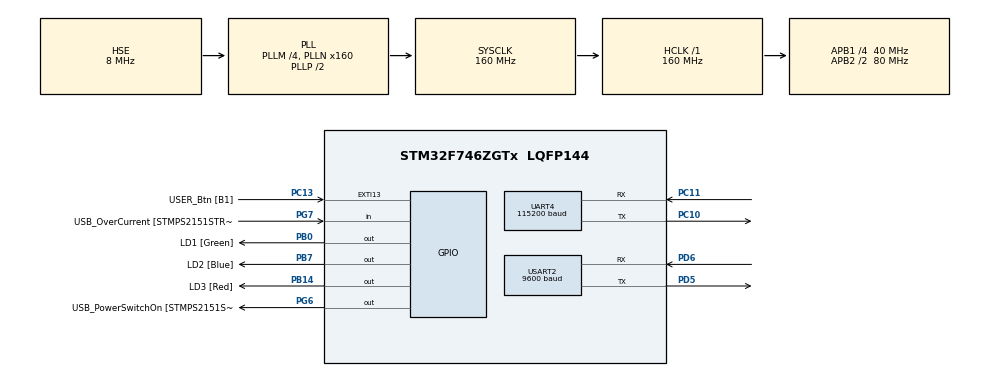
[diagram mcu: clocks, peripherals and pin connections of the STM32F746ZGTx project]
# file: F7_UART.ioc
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Dma.Request0=USART2_RX
Dma.Request1=UART4_TX
Dma.UART4_TX.1.Direction=DMA_MEMORY_TO_PERIPH
Dma.UART4_TX.1.FIFOMode=DMA_FIFOMODE_DISABLE
Dma.UART4_TX.1.Instance=DMA1_Stream4
Dma.UART4_TX.1.MemDataAlignment=DMA_MDATAALIGN_BYTE
Dma.UART4_TX.1.MemInc=DMA_MINC_ENABLE
Dma.UART4_TX.1.Mode=DMA_NORMAL
Dma.UART4_TX.1.PeriphDataAlignment=DMA_PDATAALIGN_BYTE
Dma.UART4_TX.1.PeriphInc=DMA_PINC_DISABLE
Dma.UART4_TX.1.Priority=DMA_PRIORITY_LOW
Dma.USART2_RX.0.Direction=DMA_PERIPH_TO_MEMORY
Dma.USART2_RX.0.FIFOMode=DMA_FIFOMODE_DISABLE
Dma.USART2_RX.0.Instance=DMA1_Stream5
Dma.USART2_RX.0.MemDataAlignment=DMA_MDATAALIGN_BYTE
Dma.USART2_RX.0.MemInc=DMA_MINC_ENABLE
Dma.USART2_RX.0.Mode=DMA_CIRCULAR
Dma.USART2_RX.0.PeriphDataAlignment=DMA_PDATAALIGN_BYTE
Dma.USART2_RX.0.PeriphInc=DMA_PINC_DISABLE
Dma.USART2_RX.0.Priority=DMA_PRIORITY_HIGH
FREERTOS.Queues01=usart_rx_dma_queue_id,10,uint8_t,0,Dynamic,NULL,NULL
FREERTOS.Tasks01=defaultTask,24,128,StartDefaultTask,Default,NULL,Dynamic,NULL,NULL;myTask02,32,128,StartTask02,Default,NULL,Dynamic,NULL,NULL
FREERTOS.configUSE_COUNTING_SEMAPHORES=1
Mcu.Family=STM32F7
Mcu.Name=STM32F746ZGTx
Mcu.Package=LQFP144
NVIC.DMA1_Stream4_IRQn=true\:5\:0\:false\:false\:true\:true\:false\:true
NVIC.DMA1_Stream5_IRQn=true\:5\:0\:false\:false\:true\:true\:false\:true
NVIC.PriorityGroup=NVIC_PRIORITYGROUP_4
NVIC.TIM6_DAC_IRQn=true\:0\:0\:false\:false\:true\:false\:false\:true
NVIC.TimeBase=TIM6_DAC_IRQn
NVIC.TimeBaseIP=TIM6
NVIC.UART4_IRQn=true\:6\:0\:true\:false\:true\:true\:true\:true
NVIC.USART2_IRQn=true\:5\:0\:false\:false\:true\:true\:true\:true
PA1.GPIO_Label=RMII_REF_CLK [LAN8742A-CZ-TR_REFCLK0]
PA1.Signal=ETH_REF_CLK
PA10.Signal=USART1_RX
PA11.GPIO_Label=USB_DM
PA11.Signal=USB_OTG_FS_DM
PA12.GPIO_Label=USB_DP
PA12.Signal=USB_OTG_FS_DP
PA13.GPIO_Label=TMS
PA13.Mode=Serial_Wire
PA13.Signal=SYS_JTMS-SWDIO
PA14.GPIO_Label=TCK
PA14.Mode=Serial_Wire
PA14.Signal=SYS_JTCK-SWCLK
PA2.GPIO_Label=RMII_MDIO [LAN8742A-CZ-TR_MDIO]
PA2.Signal=ETH_MDIO
PA7.GPIO_Label=RMII_CRS_DV [LAN8742A-CZ-TR_CRS_DV]
PA7.Signal=ETH_CRS_DV
PA8.GPIO_Label=USB_SOF [TP1]
PA8.Signal=USB_OTG_FS_SOF
PA9.GPIO_Label=USB_VBUS
PA9.Signal=USB_OTG_FS_VBUS
PB0.GPIO_Label=LD1 [Green]
PB0.Signal=GPIO_Output
PB13.GPIO_Label=RMII_TXD1 [LAN8742A-CZ-TR_TXD1]
PB13.Signal=ETH_TXD1
PB14.GPIO_Label=LD3 [Red]
PB14.Signal=GPIO_Output
PB3.GPIO_Label=SW0
PB3.Signal=SYS_JTDO-SWO
PB7.GPIO_Label=LD2 [Blue]
PB7.Signal=GPIO_Output
PC1.GPIO_Label=RMII_MDC [LAN8742A-CZ-TR_MDC]
PC1.Signal=ETH_MDC
PC10.Mode=Asynchronous
PC10.Signal=UART4_TX
PC11.Mode=Asynchronous
PC11.Signal=UART4_RX
PC13.GPIO_Label=USER_Btn [B1]
PC13.Signal=GPXTI13
PC14/OSC32_IN.Mode=LSE-External-Oscillator
PC14/OSC32_IN.Signal=RCC_OSC32_IN
PC15/OSC32_OUT.Mode=LSE-External-Oscillator
PC15/OSC32_OUT.Signal=RCC_OSC32_OUT
PC4.GPIO_Label=RMII_RXD0 [LAN8742A-CZ-TR_RXD0]
PC4.Signal=ETH_RXD0
PC5.GPIO_Label=RMII_RXD1 [LAN8742A-CZ-TR_RXD1]
PC5.Signal=ETH_RXD1
PD5.Mode=Asynchronous
PD5.Signal=USART2_TX
PD6.Mode=Asynchronous
PD6.Signal=USART2_RX
PD8.GPIO_Label=STLK_RX [STM32F103CBT6_PA3]
PD8.Signal=USART3_TX
PD9.GPIO_Label=STLK_TX [STM32F103CBT6_PA2]
PD9.Signal=USART3_RX
PG11.GPIO_Label=RMII_TX_EN [LAN8742A-CZ-TR_TXEN]
PG11.Signal=ETH_TX_EN
PG13.GPIO_Label=RMII_TXD0 [LAN8742A-CZ-TR_TXD0]
PG13.Signal=ETH_TXD0
PG6.GPIO_Label=USB_PowerSwitchOn [STMPS2151STR_EN]
PG6.Signal=GPIO_Output
PG7.GPIO_Label=USB_OverCurrent [STMPS2151STR_FAULT]
PG7.Signal=GPIO_Input
PH0/OSC_IN.GPIO_Label=MCO [STM32F103CBT6_PA8]
PH0/OSC_IN.Mode=HSE-External-Clock-Source
PH0/OSC_IN.Signal=RCC_OSC_IN
PH1/OSC_OUT.Mode=HSE-External-Clock-Source
PH1/OSC_OUT.Signal=RCC_OSC_OUT
ProjectManager.HeapSize=0x1000
ProjectManager.StackSize=0x1500
ProjectManager.TargetToolchain=STM32CubeIDE
RCC.48MHZClocksFreq_Value=24000000
RCC.AHBFreq_Value=160000000
RCC.APB1CLKDivider=RCC_HCLK_DIV4
RCC.APB1Freq_Value=40000000
RCC.APB1TimFreq_Value=80000000
RCC.APB2CLKDivider=RCC_HCLK_DIV2
RCC.APB2Freq_Value=80000000
RCC.APB2TimFreq_Value=160000000
RCC.CortexFreq_Value=160000000
RCC.HCLKFreq_Value=160000000
RCC.HSE_VALUE=8000000
RCC.HSI_VALUE=16000000
RCC.PLLM=4
RCC.PLLMUL=RCC_PLL_MUL9
RCC.PLLN=160
RCC.PLLQ=3
RCC.PLLSourceVirtual=RCC_PLLSOURCE_HSE
RCC.PRESCALERUSB=RCC_USBCLKSOURCE_PLL_DIV1_5
RCC.SYSCLKFreq_VALUE=160000000
RCC.SYSCLKSource=RCC_SYSCLKSOURCE_PLLCLK
RCC.SYSCLKSourceVirtual=RCC_SYSCLKSOURCE_PLLCLK
RCC.USBFreq_Value=106666666.66666667
RCC.VCOOutputFreq_Value=320000000
UART4.BaudRate=115200
USART2.BaudRate=9600
USART2.VirtualMode-Asynchronous=VM_ASYNC
VP_FREERTOS_VS_CMSIS_V2.Mode=CMSIS_V2
VP_SYS_VS_tim6.Mode=TIM6
board=NUCLEO-F746ZG

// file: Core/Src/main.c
/* USER CODE BEGIN Header */
/**
  ******************************************************************************
  * @file           : main.c
  * @brief          : Main program body
  ******************************************************************************
  * @attention
  *
  * <h2><center>&copy; Copyright (c) 2020 STMicroelectronics.
  * All rights reserved.</center></h2>
  *
  * This software component is licensed by ST under BSD 3-Clause license,
  * the "License"; You may not use this file except in compliance with the
  * License. You may obtain a copy of the License at:
  *                        opensource.org/licenses/BSD-3-Clause
  *
  ******************************************************************************
  */
/* USER CODE END Header */

#include "main.h"
#include "cmsis_os.h"
#include "dma.h"
#include "usart.h"
#include "gpio.h"

/* USER CODE BEGIN Includes */
#include "ringbuff.h"
#include "minmea.h"
#include "task.h"
/* USER CODE END Includes */

/* USER CODE BEGIN PM */
extern osMessageQueueId_t usart_rx_dma_queue_idHandle;

static ubx_prt[28] = {0xB5, 0x62, 0x06, 0x00, 0x14, 0x00, 0x01, 0x00, 0x00, 0x00, 0xD0, 0x08, 0x00, 0x00, 0x80, 0x25, 0x00, 0x00, 0x23, 0x00, 0x01, 0x00, 0x00, 0x00, 0x00, 0x00, 0xBC, 0x89};
/* USER CODE END PM */

/* USER CODE BEGIN PV */
void usart_rx_check(void);
void usart_process_data(const void* data, size_t len);
void usart_process_data2(const void* data, size_t len);
void usart_send_string(const char* str);
void usart_rx_dma_thread(void* arg);
void DMA1_Stream5_IRQHandlerX(void);
void USART2_IRQHandlerX(void);
uint8_t usart_start_tx_dma_transfer(void);
/* USER CODE END PV */

void SystemClock_Config(void);
void MX_FREERTOS_Init(void);
/* USER CODE BEGIN PFP */
#define ARRAY_LEN(x)            (sizeof(x) / sizeof((x)[0]))
static uint8_t usart_rx_dma_buffer[500];

 ringbuff_t usart_rx_dma_ringbuff;
 uint8_t usart_rx_dma_ringbuff_data[500];
 ringbuff_t usart_tx_dma_ringbuff;
 uint8_t usart_tx_dma_ringbuff_data[500];
 size_t usart_tx_dma_current_len = 0;
/* USER CODE END PFP */

/* USER CODE BEGIN 0 */
const osThreadAttr_t myTask03_attributes = {
  .name = "usart_rx_dma_thread",
  .priority = (osPriority_t) osPriorityNormal1,
  .stack_size = 1000
};
/* USER CODE END 0 */

int main(void)
{

  /* MCU Configuration--------------------------------------------------------*/

  /* Reset of all peripherals, Initializes the Flash interface and the Systick. */
  HAL_Init();

  /* Configure the system clock */
  SystemClock_Config();

  /* USER CODE BEGIN SysInit */
  ringbuff_init(&usart_tx_dma_ringbuff, usart_tx_dma_ringbuff_data, sizeof(usart_tx_dma_ringbuff_data));
  ringbuff_init(&usart_rx_dma_ringbuff, usart_rx_dma_ringbuff_data, sizeof(usart_rx_dma_ringbuff_data));

  /* USER CODE END SysInit */

  /* Initialize all configured peripherals */
  MX_GPIO_Init();
  MX_DMA_Init();
  MX_USART2_UART_Init();
  MX_UART4_Init();
  /* USER CODE BEGIN 2 */
  LL_DMA_SetPeriphAddress(DMA1, LL_DMA_STREAM_5, (uint32_t)&USART2->RDR);
  LL_DMA_SetMemoryAddress(DMA1, LL_DMA_STREAM_5, (uint32_t)usart_rx_dma_buffer);
  LL_DMA_SetDataLength(DMA1, LL_DMA_STREAM_5, ARRAY_LEN(usart_rx_dma_buffer));

  LL_DMA_EnableIT_HT(DMA1, LL_DMA_STREAM_5);
  LL_DMA_EnableIT_TC(DMA1, LL_DMA_STREAM_5);
  LL_DMA_EnableStream(DMA1, LL_DMA_STREAM_5);
  LL_USART_EnableDMAReq_RX(USART2);
  LL_USART_EnableIT_IDLE(USART2);

  LL_DMA_SetPeriphAddress(DMA1, LL_DMA_STREAM_4, (uint32_t)&UART4->TDR);
  LL_DMA_EnableIT_TC(DMA1, LL_DMA_STREAM_4);
  LL_USART_EnableDMAReq_TX(UART4);

  MX_FREERTOS_Init();
  osThreadNew(usart_rx_dma_thread, NULL, &myTask03_attributes);
  //gnss_set(USART2 , 28, ubx_prt);

  /* USER CODE END 2 */
  /* Init scheduler */
  osKernelInitialize();

  /* Call init function for freertos objects (in freertos.c) */
  MX_FREERTOS_Init();

  /* Start scheduler */
  osKernelStart();

  /* We should never get here as control is now taken by the scheduler */

  /* Infinite loop */
  while (1)
  {

  }
}

void SystemClock_Config(void)
{
  RCC_OscInitTypeDef RCC_OscInitStruct = {0};
  RCC_ClkInitTypeDef RCC_ClkInitStruct = {0};
  RCC_PeriphCLKInitTypeDef PeriphClkInitStruct = {0};

  /** Configure LSE Drive Capability
  */
  HAL_PWR_EnableBkUpAccess();
  /** Configure the main internal regulator output voltage
  */
  __HAL_RCC_PWR_CLK_ENABLE();
  __HAL_PWR_VOLTAGESCALING_CONFIG(PWR_REGULATOR_VOLTAGE_SCALE2);
  /** Initializes the CPU, AHB and APB busses clocks
  */
  RCC_OscInitStruct.OscillatorType = RCC_OSCILLATORTYPE_HSE;
  RCC_OscInitStruct.HSEState = RCC_HSE_BYPASS;
  RCC_OscInitStruct.PLL.PLLState = RCC_PLL_ON;
  RCC_OscInitStruct.PLL.PLLSource = RCC_PLLSOURCE_HSE;
  RCC_OscInitStruct.PLL.PLLM = 4;
  RCC_OscInitStruct.PLL.PLLN = 160;
  RCC_OscInitStruct.PLL.PLLP = RCC_PLLP_DIV2;
  RCC_OscInitStruct.PLL.PLLQ = 3;
  if (HAL_RCC_OscConfig(&RCC_OscInitStruct) != HAL_OK)
  {
    Error_Handler();
  }
  /** Initializes the CPU, AHB and APB busses clocks
  */
  RCC_ClkInitStruct.ClockType = RCC_CLOCKTYPE_HCLK|RCC_CLOCKTYPE_SYSCLK
                              |RCC_CLOCKTYPE_PCLK1|RCC_CLOCKTYPE_PCLK2;
  RCC_ClkInitStruct.SYSCLKSource = RCC_SYSCLKSOURCE_PLLCLK;
  RCC_ClkInitStruct.AHBCLKDivider = RCC_SYSCLK_DIV1;
  RCC_ClkInitStruct.APB1CLKDivider = RCC_HCLK_DIV4;
  RCC_ClkInitStruct.APB2CLKDivider = RCC_HCLK_DIV2;

  if (HAL_RCC_ClockConfig(&RCC_ClkInitStruct, FLASH_LATENCY_5) != HAL_OK)
  {
    Error_Handler();
  }
  PeriphClkInitStruct.PeriphClockSelection = RCC_PERIPHCLK_USART2|RCC_PERIPHCLK_UART4;
  PeriphClkInitStruct.Usart2ClockSelection = RCC_USART2CLKSOURCE_PCLK1;
  PeriphClkInitStruct.Uart4ClockSelection = RCC_UART4CLKSOURCE_PCLK1;
  if (HAL_RCCEx_PeriphCLKConfig(&PeriphClkInitStruct) != HAL_OK)
  {
    Error_Handler();
  }
}

/* USER CODE BEGIN 4 */
void DMA1_Stream5_IRQHandlerX(void) {
    void* d = (void *)1;

    /* Check half-transfer complete interrupt */
    if (LL_DMA_IsEnabledIT_HT(DMA1, LL_DMA_STREAM_5) && LL_DMA_IsActiveFlag_HT5(DMA1)) {
        LL_DMA_ClearFlag_HT5(DMA1);             /* Clear half-transfer complete flag */
        osMessageQueuePut(usart_rx_dma_queue_idHandle, &d, 0, 0); /* Write data to queue. Do not use wait function! */
    }

    /* Check transfer-complete interrupt */
    if (LL_DMA_IsEnabledIT_TC(DMA1, LL_DMA_STREAM_5) && LL_DMA_IsActiveFlag_TC5(DMA1)) {
        LL_DMA_ClearFlag_TC5(DMA1);             /* Clear transfer complete flag */
        osMessageQueuePut(usart_rx_dma_queue_idHandle, &d, 0, 0); /* Write data to queue. Do not use wait function! */
    }

    /* Implement other events when needed */
}

void DMA1_Stream4_IRQHandlerX(void) {
    /* Check transfer-complete interrupt */
    if (LL_DMA_IsEnabledIT_TC(DMA1, LL_DMA_STREAM_4) && LL_DMA_IsActiveFlag_TC4(DMA1)) {
        LL_DMA_ClearFlag_TC4(DMA1);             /* Clear transfer complete flag */
        ringbuff_skip(&usart_tx_dma_ringbuff, usart_tx_dma_current_len);/* Skip buffer, it has been successfully sent out */
        usart_tx_dma_current_len = 0;           /* Reset data length */
        usart_start_tx_dma_transfer();          /* Start new transfer */
    }

    /* Implement other events when needed */
}

void USART2_IRQHandlerX(void) {
    void* d = (void *)1;

    /* Check for IDLE line interrupt */
    if (LL_USART_IsEnabledIT_IDLE(USART2) && LL_USART_IsActiveFlag_IDLE(USART2)) {
        LL_USART_ClearFlag_IDLE(USART2);        /* Clear IDLE line flag */
        osMessageQueuePut(usart_rx_dma_queue_idHandle, &d, 0, 0); /* Write data to queue. Do not use wait function! */
    }
    /* Implement other events when needed */
}

uint8_t
usart_start_tx_dma_transfer(void) {
    uint32_t old_primask;
    uint8_t started = 0;

    /* Check if DMA is active */
    /* Must be set to 0 */
    old_primask = __get_PRIMASK();
    __disable_irq();

    /* Check if transfer is not active */
    if (usart_tx_dma_current_len == 0) {
        /* Check if something to send  */
        usart_tx_dma_current_len = ringbuff_get_linear_block_read_length(&usart_tx_dma_ringbuff);
        if (usart_tx_dma_current_len > 0) {
            /* Disable channel if enabled */
        	LL_DMA_DisableStream(DMA1, LL_DMA_STREAM_4);

            /* Clear all flags */
            LL_DMA_ClearFlag_TC4(DMA1);
            LL_DMA_ClearFlag_HT4(DMA1);
           // LL_DMA_ClearFlag_GI3(DMA1);
            LL_DMA_ClearFlag_TE4(DMA1);
            LL_DMA_ClearFlag_DME4(DMA1);
            LL_DMA_ClearFlag_FE4(DMA1);
            /* Start DMA transfer */
            LL_DMA_SetDataLength(DMA1, LL_DMA_STREAM_4, usart_tx_dma_current_len);
            LL_DMA_SetMemoryAddress(DMA1, LL_DMA_STREAM_4, (uint32_t)ringbuff_get_linear_block_read_address(&usart_tx_dma_ringbuff));

            /* Start new transfer */
            LL_DMA_EnableStream(DMA1, LL_DMA_STREAM_4);
            started = 1;
        }
    }

    __set_PRIMASK(old_primask);

    return started;
}
void usart_send_string(const char* str) {
    //usart_process_data(str, strlen(str));
    ringbuff_write(&usart_rx_dma_ringbuff, str, strlen(str));   /* Write data to TX buffer for loopback */
    usart_start_tx_dma_transfer();              /* Then try to start transfer */
}

void usart_process_data(const void* data, size_t len) {

    /*
     * This function is called on DMA TC and HT events, aswell as on UART IDLE (if enabled) line event.
     *
     * For the sake of this example, function does a loop-back data over UART in polling mode.
     * Check ringbuff RX-based example for implementation with TX & RX DMA transfer.
     */
   /*const uint8_t* d = data;
   for (; len > 0; --len, ++d) {
        LL_USART_TransmitData8(UART4, *d);
        while (!LL_USART_IsActiveFlag_TXE(UART4)) {}
    }
    while (!LL_USART_IsActiveFlag_TC(UART4)) {}*/

	ringbuff_write(&usart_rx_dma_ringbuff, data, len);
}

void usart_process_data2(const void* data, size_t len) {

    /*
     * This function is called on DMA TC and HT events, aswell as on UART IDLE (if enabled) line event.
     *
     * For the sake of this example, function does a loop-back data over UART in polling mode.
     * Check ringbuff RX-based example for implementation with TX & RX DMA transfer.
     */
   const uint8_t* d = data;
   for (; len > 0; --len, ++d) {
        LL_USART_TransmitData8(UART4, *d);
        while (!LL_USART_IsActiveFlag_TXE(UART4)) {}
    }
    while (!LL_USART_IsActiveFlag_TC(UART4)) {}

}

int16_t find_str_end(uint8_t *str, uint16_t old_pos, uint16_t pos)
{
	uint16_t i;
	int16_t ret = -1;
	for(i = old_pos; i < pos; i++)
	{
		if(str[i] == '*' )
		{
			ret = i + 5;
			return ret;
		}
		else
			ret = -1;
	}

	return ret;

}

void usart_rx_check(void) {
    static size_t old_pos;
    size_t pos;

    pos = ARRAY_LEN(usart_rx_dma_buffer) - LL_DMA_GetDataLength(DMA1, LL_DMA_STREAM_5);
    if (pos != old_pos) {
        if (pos > old_pos) {
            usart_process_data(&usart_rx_dma_buffer[old_pos], pos - old_pos);
        } else {

            usart_process_data(&usart_rx_dma_buffer[old_pos], ARRAY_LEN(usart_rx_dma_buffer) - old_pos);

            if (pos > 0) {
                usart_process_data(&usart_rx_dma_buffer[0], pos);
            }
        }
    }
    old_pos = pos;

    if (old_pos == ARRAY_LEN(usart_rx_dma_buffer)) {
        old_pos = 0;
    }
}

void usart_rx_dma_thread(void* arg) {
    void* d;

    /* Notify user to start sending data */
    usart_send_string("USART DMA example: DMA HT & TC + USART IDLE LINE IRQ + RTOS processing\r\n");
    usart_send_string("Start sending data to STM32\r\n");

    while (1) {
        /* Block thread and wait for event to process USART data */
        osMessageQueueGet(usart_rx_dma_queue_idHandle, &d, NULL, osWaitForever);

        /* Simply call processing function */
        usart_rx_check();

        (void)d;
    }
}

/* USER CODE END 4 */

void HAL_TIM_PeriodElapsedCallback(TIM_HandleTypeDef *htim)
{
  if (htim->Instance == TIM6) {
    HAL_IncTick();
  }
}

void Error_Handler(void)
{
}

/************************ (C) COPYRIGHT STMicroelectronics *****END OF FILE****/

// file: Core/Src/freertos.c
/* USER CODE BEGIN Header */
/**
  ******************************************************************************
  * File Name          : freertos.c
  * Description        : Code for freertos applications
  ******************************************************************************
  * @attention
  *
  * <h2><center>&copy; Copyright (c) 2020 STMicroelectronics.
  * All rights reserved.</center></h2>
  *
  * This software component is licensed by ST under Ultimate Liberty license
  * SLA0044, the "License"; You may not use this file except in compliance with
  * the License. You may obtain a copy of the License at:
  *                             www.st.com/SLA0044
  *
  ******************************************************************************
  */
/* USER CODE END Header */

#include "FreeRTOS.h"
#include "task.h"
#include "main.h"
#include "cmsis_os.h"
#include "ringbuff.h"

/* USER CODE BEGIN PTD */
extern	 ringbuff_t usart_rx_dma_ringbuff;
extern	 uint8_t usart_rx_dma_ringbuff_data[128];
extern	 ringbuff_t usart_tx_dma_ringbuff;
extern   uint8_t usart_tx_dma_ringbuff_data[128];
extern	 size_t usart_tx_dma_current_len;
extern void usart_send_string(const char* str);
extern uint8_t usart_start_tx_dma_transfer(void);
extern void usart_process_data2(const void* data, size_t len);
/* USER CODE END PTD */

/* USER CODE BEGIN PM */
uint8_t b, state = 0, local_buff[100] = {0};
uint16_t cnt = 0;
/* USER CODE END PM */

/* Definitions for defaultTask */
osThreadId_t defaultTaskHandle;
const osThreadAttr_t defaultTask_attributes = {
  .name = "defaultTask",
  .priority = (osPriority_t) osPriorityNormal,
  .stack_size = 1000
};
/* Definitions for myTask02 */
osThreadId_t myTask02Handle;
const osThreadAttr_t myTask02_attributes = {
  .name = "myTask02",
  .priority = (osPriority_t) osPriorityNormal1,
  .stack_size = 300
};
/* Definitions for usart_rx_dma_queue_id */
osMessageQueueId_t usart_rx_dma_queue_idHandle;
const osMessageQueueAttr_t usart_rx_dma_queue_id_attributes = {
  .name = "usart_rx_dma_queue_id"
};

void StartDefaultTask(void *argument);
void StartTask02(void *argument);

void MX_FREERTOS_Init(void); /* (MISRA C 2004 rule 8.1) */

void MX_FREERTOS_Init(void) {

  /* Create the queue(s) */
  /* creation of usart_rx_dma_queue_id */
  usart_rx_dma_queue_idHandle = osMessageQueueNew (10, sizeof(uint8_t), &usart_rx_dma_queue_id_attributes);

  /* Create the thread(s) */
  /* creation of defaultTask */
  defaultTaskHandle = osThreadNew(StartDefaultTask, NULL, &defaultTask_attributes);

  /* creation of myTask02 */
  myTask02Handle = osThreadNew(StartTask02, NULL, &myTask02_attributes);

}

void StartDefaultTask(void *argument)
{
  /* USER CODE BEGIN StartDefaultTask */
uint8_t a = 0;
  /* Infinite loop */
	for(;;)
	{

		  if (ringbuff_read(&usart_rx_dma_ringbuff, &b, 1) == 1)
		  {
			  taskENTER_CRITICAL();

	            ringbuff_write(&usart_tx_dma_ringbuff, &b, 1);   /* Write data to transmit buffer */
	            //ringbuff_read(&usart_tx_dma_ringbuff, &a, 1);
	            //usart_process_data2(&a, 1);
	           usart_start_tx_dma_transfer();
	            taskEXIT_CRITICAL();
			  //usart_process_data2(&b, 1);
					  /*switch (state) {
						  case 0:

							  if (b == '$') {
								  local_buff[cnt++] = b;
								  ++state;
							  }
							  break;

						  case 1:
							  if (cnt >= 98 ) {
								  state = 0;
								  cnt = 0;
								  break;
							  }

							  local_buff[cnt++] = b;

							  if (b == '*')
							  {

								  local_buff[cnt++] = '\n';
								  ++state;

								  break;
							  }
							  break;

						  case 2:
							  //usart_process_data2(&local_buff, cnt);

							 //ringbuff_write(&usart_tx_dma_ringbuff, &local_buff, cnt);
							 //usart_start_tx_dma_transfer();

							  cnt = 0;
							  state = 0;

							  break;

					  }*/
		  }
	 }
	       osDelay(1);
  }
  /* USER CODE END StartDefaultTask */

void StartTask02(void *argument)
{
  /* USER CODE BEGIN StartTask02 */
	uint8_t set_flag = 0;
  /* Infinite loop */
  for(;;)
  {
	if(!set_flag)
	{
		HAL_GPIO_WritePin(LD1_GPIO_Port, LD1_Pin,GPIO_PIN_SET);
		set_flag = 1;
	}
	else
	{
		HAL_GPIO_WritePin(LD1_GPIO_Port, LD1_Pin,GPIO_PIN_RESET);
		set_flag = 0;
	}

    osDelay(200);
  }
  /* USER CODE END StartTask02 */
}

/************************ (C) COPYRIGHT STMicroelectronics *****END OF FILE****/
